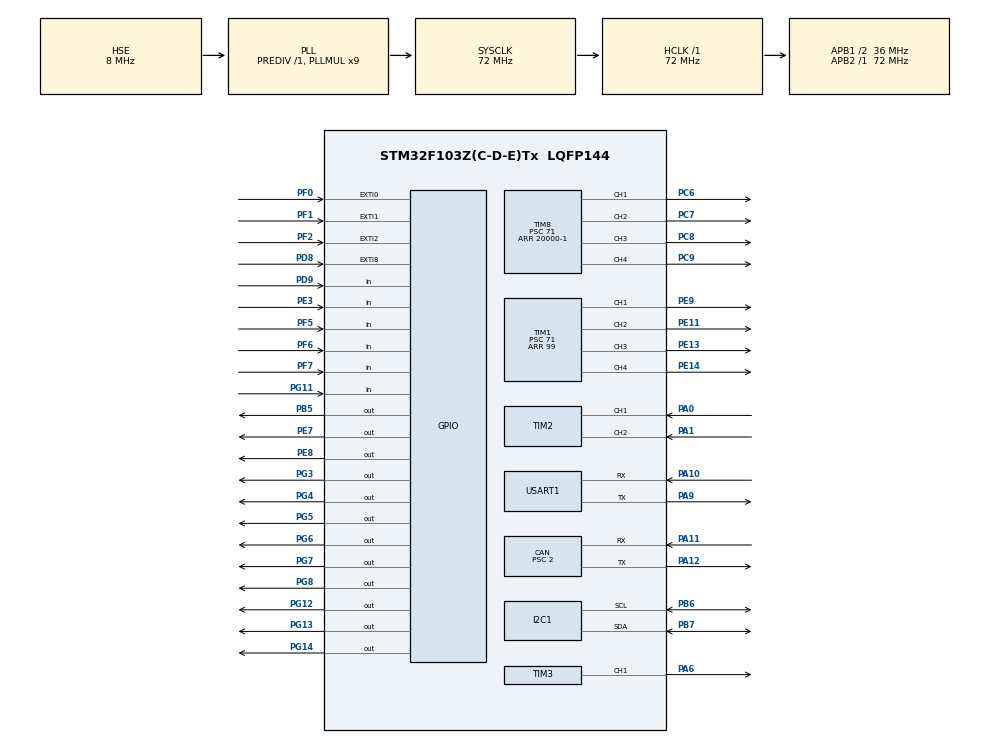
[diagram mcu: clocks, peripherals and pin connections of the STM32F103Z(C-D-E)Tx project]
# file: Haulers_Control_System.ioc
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CAN.BS1=CAN_BS1_13TQ
CAN.BS2=CAN_BS2_4TQ
CAN.CalculateBaudRate=1000000
CAN.CalculateTimeBit=1000
CAN.CalculateTimeQuantum=55.55555555555556
CAN.Prescaler=2
Mcu.Family=STM32F1
Mcu.Name=STM32F103Z(C-D-E)Tx
Mcu.Package=LQFP144
NVIC.EXTI0_IRQn=true\:1\:0\:true\:false\:true\:true\:true\:true
NVIC.EXTI1_IRQn=true\:1\:0\:true\:false\:true\:true\:true\:true
NVIC.EXTI2_IRQn=true\:1\:0\:true\:false\:true\:true\:true\:true
NVIC.EXTI9_5_IRQn=true\:1\:0\:true\:false\:true\:true\:true\:true
NVIC.PriorityGroup=NVIC_PRIORITYGROUP_4
NVIC.TIM4_IRQn=true\:2\:0\:true\:false\:true\:true\:true\:true
NVIC.USART1_IRQn=true\:3\:0\:true\:false\:true\:true\:true\:true
OSC_IN.Mode=HSE-External-Oscillator
OSC_IN.Signal=RCC_OSC_IN
OSC_OUT.Mode=HSE-External-Oscillator
OSC_OUT.Signal=RCC_OSC_OUT
PA0-WKUP.Signal=S_TIM2_CH1_ETR
PA1.Signal=S_TIM2_CH2
PA10.Mode=Asynchronous
PA10.Signal=USART1_RX
PA11.Mode=CAN_Activate
PA11.Signal=CAN_RX
PA12.Mode=CAN_Activate
PA12.Signal=CAN_TX
PA13.Mode=Serial_Wire
PA13.Signal=SYS_JTMS-SWDIO
PA14.Mode=Serial_Wire
PA14.Signal=SYS_JTCK-SWCLK
PA6.Signal=S_TIM3_CH1
PA9.Mode=Asynchronous
PA9.Signal=USART1_TX
PB5.GPIO_Speed=GPIO_SPEED_FREQ_HIGH
PB5.PinState=GPIO_PIN_SET
PB5.Signal=GPIO_Output
PB6.Mode=I2C
PB6.Signal=I2C1_SCL
PB7.Mode=I2C
PB7.Signal=I2C1_SDA
PC6.Signal=S_TIM8_CH1
PC7.Signal=S_TIM8_CH2
PC8.Signal=S_TIM8_CH3
PC9.Signal=S_TIM8_CH4
PD8.GPIO_ModeDefaultEXTI=GPIO_MODE_IT_RISING_FALLING
PD8.Signal=GPXTI8
PD9.GPIO_PuPd=GPIO_NOPULL
PD9.Signal=GPIO_Input
PE11.Signal=S_TIM1_CH2
PE13.Signal=S_TIM1_CH3
PE14.Signal=S_TIM1_CH4
PE3.GPIO_PuPd=GPIO_PULLUP
PE3.Signal=GPIO_Input
PE7.GPIO_Speed=GPIO_SPEED_FREQ_HIGH
PE7.PinState=GPIO_PIN_SET
PE7.Signal=GPIO_Output
PE8.GPIO_Speed=GPIO_SPEED_FREQ_HIGH
PE8.PinState=GPIO_PIN_SET
PE8.Signal=GPIO_Output
PE9.Signal=S_TIM1_CH1
PF0.GPIO_ModeDefaultEXTI=GPIO_MODE_IT_RISING_FALLING
PF0.Signal=GPXTI0
PF1.GPIO_ModeDefaultEXTI=GPIO_MODE_IT_RISING_FALLING
PF1.GPIO_PuPd=GPIO_NOPULL
PF1.Signal=GPXTI1
PF2.GPIO_ModeDefaultEXTI=GPIO_MODE_IT_RISING_FALLING
PF2.Signal=GPXTI2
PF5.GPIO_PuPd=GPIO_PULLDOWN
PF5.Signal=GPIO_Input
PF6.GPIO_PuPd=GPIO_NOPULL
PF6.Signal=GPIO_Input
PF7.GPIO_PuPd=GPIO_PULLDOWN
PF7.Signal=GPIO_Input
PG11.GPIO_PuPd=GPIO_PULLUP
PG11.Signal=GPIO_Input
PG12.GPIO_Speed=GPIO_SPEED_FREQ_HIGH
PG12.PinState=GPIO_PIN_SET
PG12.Signal=GPIO_Output
PG13.GPIO_Speed=GPIO_SPEED_FREQ_HIGH
PG13.Signal=GPIO_Output
PG14.GPIO_Speed=GPIO_SPEED_FREQ_HIGH
PG14.Signal=GPIO_Output
PG3.PinState=GPIO_PIN_SET
PG3.Signal=GPIO_Output
PG4.PinState=GPIO_PIN_SET
PG4.Signal=GPIO_Output
PG5.PinState=GPIO_PIN_SET
PG5.Signal=GPIO_Output
PG6.PinState=GPIO_PIN_SET
PG6.Signal=GPIO_Output
PG7.PinState=GPIO_PIN_SET
PG7.Signal=GPIO_Output
PG8.PinState=GPIO_PIN_SET
PG8.Signal=GPIO_Output
ProjectManager.HeapSize=0x200
ProjectManager.StackSize=0x400
ProjectManager.TargetToolchain=MDK-ARM V5.32
RCC.AHBFreq_Value=72000000
RCC.APB1CLKDivider=RCC_HCLK_DIV2
RCC.APB1Freq_Value=36000000
RCC.APB1TimFreq_Value=72000000
RCC.APB2Freq_Value=72000000
RCC.APB2TimFreq_Value=72000000
RCC.HCLKFreq_Value=72000000
RCC.PLLMUL=RCC_PLL_MUL9
RCC.PLLSourceVirtual=RCC_PLLSOURCE_HSE
RCC.SYSCLKFreq_VALUE=72000000
RCC.SYSCLKSource=RCC_SYSCLKSOURCE_PLLCLK
RCC.USBFreq_Value=72000000
SH.S_TIM1_CH1.0=TIM1_CH1,PWM Generation1 CH1
SH.S_TIM1_CH2.0=TIM1_CH2,PWM Generation2 CH2
SH.S_TIM1_CH3.0=TIM1_CH3,PWM Generation3 CH3
SH.S_TIM1_CH4.0=TIM1_CH4,PWM Generation4 CH4
SH.S_TIM2_CH1_ETR.0=TIM2_CH1,Encoder_Interface
SH.S_TIM2_CH2.0=TIM2_CH2,Encoder_Interface
SH.S_TIM3_CH1.0=TIM3_CH1,PWM Generation1 CH1
SH.S_TIM8_CH1.0=TIM8_CH1,PWM Generation1 CH1
SH.S_TIM8_CH2.0=TIM8_CH2,PWM Generation2 CH2
SH.S_TIM8_CH3.0=TIM8_CH3,PWM Generation3 CH3
SH.S_TIM8_CH4.0=TIM8_CH4,PWM Generation4 CH4
TIM1.AutoReloadPreload=TIM_AUTORELOAD_PRELOAD_ENABLE
TIM1.Channel-PWM\ Generation1\ CH1=TIM_CHANNEL_1
TIM1.Channel-PWM\ Generation2\ CH2=TIM_CHANNEL_2
TIM1.Channel-PWM\ Generation3\ CH3=TIM_CHANNEL_3
TIM1.Channel-PWM\ Generation4\ CH4=TIM_CHANNEL_4
TIM1.Period=99
TIM1.Prescaler=71
TIM2.EncoderMode=TIM_ENCODERMODE_TI1
TIM3.Channel-PWM\ Generation1\ CH1=TIM_CHANNEL_1
TIM3.Period=20000-1
TIM3.Prescaler=72-1
TIM4.Period=1000-1
TIM4.Prescaler=71
TIM6.Prescaler=72-1
TIM8.Channel-PWM\ Generation1\ CH1=TIM_CHANNEL_1
TIM8.Channel-PWM\ Generation2\ CH2=TIM_CHANNEL_2
TIM8.Channel-PWM\ Generation3\ CH3=TIM_CHANNEL_3
TIM8.Channel-PWM\ Generation4\ CH4=TIM_CHANNEL_4
TIM8.Period=20000-1
TIM8.Prescaler=71
USART1.VirtualMode=VM_ASYNC
VP_TIM1_VS_ClockSourceINT.Mode=Internal
VP_TIM3_VS_ClockSourceINT.Mode=Internal
VP_TIM4_VS_ClockSourceINT.Mode=Internal
VP_TIM6_VS_ClockSourceINT.Mode=Enable_Timer
VP_TIM8_VS_ClockSourceINT.Mode=Internal
board=custom

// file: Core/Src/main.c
/* USER CODE BEGIN Header */
/**
  ******************************************************************************
  * @file           : main.c
  * @brief          : Main program body
  ******************************************************************************
  * @attention
  *
  * Copyright (c) 2025 STMicroelectronics.
  * All rights reserved.
  *
  * This software is licensed under terms that can be found in the LICENSE file
  * in the root directory of this software component.
  * If no LICENSE file comes with this software, it is provided AS-IS.
  *
  ******************************************************************************
  */
/* USER CODE END Header */
#include "main.h"
#include "can.h"
#include "i2c.h"
#include "tim.h"
#include "usart.h"
#include "gpio.h"

/* USER CODE BEGIN Includes */
#include "Key.h"
#include "PS2_JoyStick.h"
#include "Brushed_Motor.h"
#include "Serial_Port.h"
#include "DM_Motor.h"
#include "Servo.h"
#include "OledScreen.h"
#include "chassis.h"
#include <stdbool.h>
/* USER CODE END Includes */

/* USER CODE BEGIN PV */
int16_t encoder_count[4] = {0, 0, 0, 0};

int32_t time_ms = 0;
float DM_motor_rad = 0;
bool key_num = false;
bool motion_num = false;
JOYSTICK_TypeDef main_joy;
/* USER CODE END PV */

void SystemClock_Config(void);

/* USER CODE BEGIN 0 */
void HAL_TIM_PeriodElapsedCallback(TIM_HandleTypeDef *htim)
{
  if (htim==&htim4)
  {
    time_ms++;
  }
}

void HAL_GPIO_EXTI_Callback(uint16_t GPIO_Pin)
{
	if (GPIO_Pin == GPIO_PIN_0)
	{
		uint8_t f0_state = HAL_GPIO_ReadPin(GPIOF, GPIO_PIN_0);
		uint8_t f5_state = HAL_GPIO_ReadPin(GPIOF, GPIO_PIN_5);
		if(f0_state == GPIO_PIN_SET)
    {
		  if(f5_state == GPIO_PIN_RESET)
      {
        encoder_count[0]++;
      }
      else
      {
        encoder_count[0]--;
      }
    }
    if (f0_state == GPIO_PIN_RESET)
    {
      if (f5_state == GPIO_PIN_RESET)
      {
        encoder_count[0]--;
      }
      else
      {
        encoder_count[0]++;
      }
    }
	}
  if (GPIO_Pin == GPIO_PIN_1)
  {
    uint8_t f1_state = HAL_GPIO_ReadPin(GPIOF, GPIO_PIN_1);
		uint8_t f6_state = HAL_GPIO_ReadPin(GPIOF, GPIO_PIN_6);
    if (f1_state == GPIO_PIN_SET)
    {
      if (f6_state == GPIO_PIN_RESET)
      {
        encoder_count[1]++;
      }
      else
      {
        encoder_count[1]--;
      }
    }
    if (f1_state == GPIO_PIN_RESET)
    {
      if (f6_state == GPIO_PIN_RESET)
      {
        encoder_count[1]--;
      }
      else
      {
        encoder_count[1]++;
      }
    }
  }
  if (GPIO_Pin == GPIO_PIN_2)
  {
    uint8_t f2_state = HAL_GPIO_ReadPin(GPIOF, GPIO_PIN_2);
		uint8_t f7_state = HAL_GPIO_ReadPin(GPIOF, GPIO_PIN_7);
    if (f2_state == GPIO_PIN_SET)
    {
      if (f7_state == GPIO_PIN_RESET)
      {
        encoder_count[2]++;
      }
      else
      {
        encoder_count[2]--;
      }
    }
    if (f2_state == GPIO_PIN_RESET)
    {
      if (f7_state == GPIO_PIN_RESET)
      {
        encoder_count[2]--;
      }
      else
      {
        encoder_count[2]++;
      }
    }
  }
  if (GPIO_Pin == GPIO_PIN_8)
  {
    uint8_t f3_state = HAL_GPIO_ReadPin(GPIOD, GPIO_PIN_8);
		uint8_t f4_state = HAL_GPIO_ReadPin(GPIOD, GPIO_PIN_9);
    if (f3_state == GPIO_PIN_SET)
    {
      if (f4_state == GPIO_PIN_RESET)
      {
        encoder_count[3]++;
      }
      else
      {
        encoder_count[3]--;
      }
    }
    if (f3_state == GPIO_PIN_RESET)
    {
      if (f4_state == GPIO_PIN_RESET)
      {
        encoder_count[3]--;
      }
      else
      {
        encoder_count[3]++;
      }
    }
  }
}

void HAL_UART_RxCpltCallback(UART_HandleTypeDef *huart)
{
  if (huart == &huart1)
  {

  }

}

// void get_d_encoder(void)
// {
//   encoder_count[3] = __HAL_TIM_GET_COUNTER(&htim2);
// }

/* USER CODE END 0 */

int main(void)
{

  /* MCU Configuration--------------------------------------------------------*/

  /* Reset of all peripherals, Initializes the Flash interface and the Systick. */
  HAL_Init();

  /* Configure the system clock */
  SystemClock_Config();

  /* Initialize all configured peripherals */
  MX_GPIO_Init();
  MX_TIM1_Init();
  MX_USART1_UART_Init();
  MX_TIM4_Init();
  MX_CAN_Init();
  MX_TIM8_Init();
  MX_I2C1_Init();
  MX_TIM6_Init();
  MX_TIM3_Init();
  MX_TIM2_Init();
  /* USER CODE BEGIN 2 */
  HAL_TIM_PWM_Start(&htim1, TIM_CHANNEL_1);
  HAL_TIM_PWM_Start(&htim1, TIM_CHANNEL_2);
  HAL_TIM_PWM_Start(&htim1, TIM_CHANNEL_3);
  HAL_TIM_PWM_Start(&htim1, TIM_CHANNEL_4);
  HAL_TIM_PWM_Start(&htim8, TIM_CHANNEL_1);
  HAL_TIM_PWM_Start(&htim8, TIM_CHANNEL_2);
  HAL_TIM_PWM_Start(&htim8, TIM_CHANNEL_3);
  HAL_TIM_PWM_Start(&htim8, TIM_CHANNEL_4);
  HAL_TIM_PWM_Start(&htim3, TIM_CHANNEL_1);
  HAL_TIM_Encoder_Start(&htim2, TIM_CHANNEL_1);
  HAL_TIM_Encoder_Start(&htim2, TIM_CHANNEL_2);

  HAL_TIM_Base_Start_IT(&htim4);
  // OLED_Init();
  Can_Init();
  DM_Motor_Enable(0x001);
  HAL_Delay(5);
  DM_Motor_Enable(0x002);
  HAL_Delay(5);
  DM_Motor_Enable(0x003);
  HAL_Delay(5);
  DM_Motor_Enable(0x004);
  HAL_Delay(5);
  DM_Motor_Enable(0x105);
  /* USER CODE END 2 */

  /* Infinite loop */
  /* USER CODE BEGIN WHILE */
  while (1)
  {
    PS2_Scanning(&main_joy);
    HAL_Delay(30);
    // send_16bitsfloat_data(encoder_count[3]);
    uint8_t LU = main_joy.LJoy_UD;
    uint8_t m = main_joy.mode;
    if (m == 0x73)
    {
      Go_Ahead_Velocity(LU);
      if (main_joy.btn2 & (1 << 0))
      {
        HAL_GPIO_WritePin(GPIOB, GPIO_PIN_5, GPIO_PIN_SET);
        uint64_t start1 = time_ms;
        while ((time_ms - start1) < 1200)
        {
          Reset_turning(encoder_count);
        }
      }
      if (main_joy.btn2 & (1 << 1))
      {
        // HAL_GPIO_WritePin(GPIOB, GPIO_PIN_5, GPIO_PIN_SET);
        Set_Servo_Angle(40, 'b');
        Set_Servo_Angle(60, 'a');
        Set_Servo_Angle(75, 'c');
        // Set_Servo_Angle(150, 'd');
      }
      if (main_joy.btn2 & (1 << 2))
      {
        HAL_GPIO_WritePin(GPIOB, GPIO_PIN_5, GPIO_PIN_RESET);
        uint64_t start0 = time_ms;
        while ((time_ms - start0) < 1200)
        {
          Self_Rotation(encoder_count);
        }
      }
      if (main_joy.btn2 & (1 << 3))
      {
        // HAL_GPIO_WritePin(GPIOB, GPIO_PIN_5, GPIO_PIN_RESET);
        Set_Servo_Angle(0, 'a');
        Set_Servo_Angle(0, 'b');
        Set_Servo_Angle(0, 'c');
        // Set_Servo_Angle(150, 'd');
      }
      if (main_joy.btn2 & (1 << 6))
      {
        key_num = !key_num;
      }
      if (key_num == false)
      {
        Set_Servo_Angle(130, 'e');
      }
      if (key_num == true)
      {
        Set_Servo_Angle(50, 'e');
      }
    }

    /* USER CODE END WHILE */

  }
}

void SystemClock_Config(void)
{
  RCC_OscInitTypeDef RCC_OscInitStruct = {0};
  RCC_ClkInitTypeDef RCC_ClkInitStruct = {0};

  /** Initializes the RCC Oscillators according to the specified parameters
  * in the RCC_OscInitTypeDef structure.
  */
  RCC_OscInitStruct.OscillatorType = RCC_OSCILLATORTYPE_HSE;
  RCC_OscInitStruct.HSEState = RCC_HSE_ON;
  RCC_OscInitStruct.HSEPredivValue = RCC_HSE_PREDIV_DIV1;
  RCC_OscInitStruct.HSIState = RCC_HSI_ON;
  RCC_OscInitStruct.PLL.PLLState = RCC_PLL_ON;
  RCC_OscInitStruct.PLL.PLLSource = RCC_PLLSOURCE_HSE;
  RCC_OscInitStruct.PLL.PLLMUL = RCC_PLL_MUL9;
  if (HAL_RCC_OscConfig(&RCC_OscInitStruct) != HAL_OK)
  {
    Error_Handler();
  }

  /** Initializes the CPU, AHB and APB buses clocks
  */
  RCC_ClkInitStruct.ClockType = RCC_CLOCKTYPE_HCLK|RCC_CLOCKTYPE_SYSCLK
                              |RCC_CLOCKTYPE_PCLK1|RCC_CLOCKTYPE_PCLK2;
  RCC_ClkInitStruct.SYSCLKSource = RCC_SYSCLKSOURCE_PLLCLK;
  RCC_ClkInitStruct.AHBCLKDivider = RCC_SYSCLK_DIV1;
  RCC_ClkInitStruct.APB1CLKDivider = RCC_HCLK_DIV2;
  RCC_ClkInitStruct.APB2CLKDivider = RCC_HCLK_DIV1;

  if (HAL_RCC_ClockConfig(&RCC_ClkInitStruct, FLASH_LATENCY_2) != HAL_OK)
  {
    Error_Handler();
  }
}

void Error_Handler(void)
{
  __disable_irq();
  while (1)
  {
  }
}
